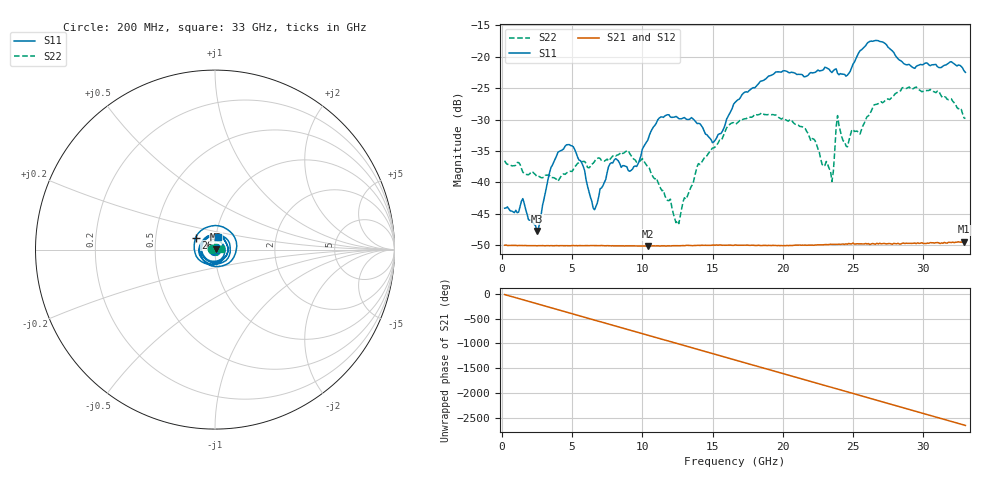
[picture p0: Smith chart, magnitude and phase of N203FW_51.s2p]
# GHZ S RI R 50
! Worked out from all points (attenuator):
!   329 points, 200 MHz to 33 GHz, reference 50 ohm
!   highest |S21| = -49.41 dB at 32.9 GHz (marker M1); lowest = -50.1 dB at 10.4 GHz (marker M2)
!   lowest |S11| = -47.7 dB at 2.5 GHz (marker M3), VSWR 1.01, Z = 50.4 + j0.207 ohm
!   |S11| at or under -10 dB: start of sweep to end of sweep
!   |S22| runs from -46.5 to -24.8 dB; largest |S21 - S12| = 8.8e-05
!   S11 on the Smith chart (normalised r, x): 200 MHz: 1.01, +0.00; 26 GHz: 0.80, +0.11; 33 GHz: 1.03, +0.15
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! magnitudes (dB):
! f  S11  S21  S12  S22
! 200 MHz  -44.1  -50.0  -49.9  -36.5
! 1.5 GHz  -42.6  -50.0  -50.0  -38.4
! 2.5 GHz  -47.7  -50.1  -50.0  -39.1
! 4 GHz  -35.2  -50.0  -50.0  -39.8
! 5.7 GHz  -36.9  -50.0  -50.0  -36.7
! 6.6 GHz  -44.3  -50.0  -50.0  -36.7
! 7.7 GHz  -37.1  -50.0  -50.0  -36.3
! 9.2 GHz  -38.1  -50.1  -50.0  -35.7
! 10.4 GHz  -33.2  -50.1  -50.1  -37.6
! 11.2 GHz  -29.8  -50.1  -50.1  -40.4
! 12.6 GHz  -29.9  -50.1  -50.0  -46.5
! 15 GHz  -33.7  -49.9  -49.9  -34.5
! 16.6 GHz  -27.3  -49.9  -49.9  -30.7
! 22.1 GHz  -22.6  -49.9  -49.9  -33.0
! 23.5 GHz  -22.5  -49.8  -49.8  -39.9
! 23.9 GHz  -22.7  -49.8  -49.8  -29.4
! 24.6 GHz  -23.0  -49.8  -49.7  -34.3
! 26 GHz  -17.9  -49.8  -49.7  -29.5
! 27.6 GHz  -18.7  -49.7  -49.7  -26.8
! 31.1 GHz  -21.7  -49.6  -49.4  -25.5
! 32.9 GHz  -22.3  -49.4  -49.4  -29.7
! 33 GHz  -22.5  -49.4  -49.5  -29.8
